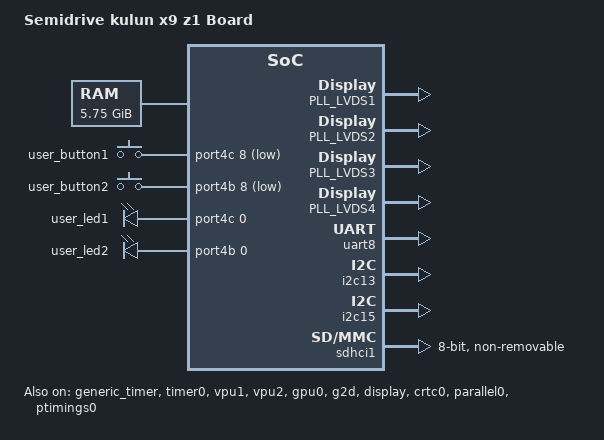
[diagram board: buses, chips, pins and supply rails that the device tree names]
/*
 * Semidrive kunlun platform DTS file
 *
 * Copyright (C) 2019, Semidrive  Communications Inc.
 *
 * This file is licensed under a dual GPLv2 or X11 license.
 */

/dts-v1/;

#include "x9_high_z1.dtsi"
#include "x9_high_z1-clk-ctrl.dtsi"
#include "lcd-timings.dtsi"
#include <dt-bindings/pinctrl/pins-sdx9.h>

/ {
	model = "Semidrive kulun x9 z1 Board";

	compatible = "semidrive,kunlun";

	aliases {
		serial0 = &uart8;
	};

	memory@50000000 {
		device_type = "memory";
		reg = <0x0 0x50000000 0x0 0x30000000 0x1 0x0 0x1 0x40000000>;
	};

	reserved-memory {
		#address-cells = <2>;
		#size-cells = <2>;
		ranges;

		/* Default Common CMA Pool */
		/* QUIRK: Must be kept in the lower 4096 MiBs of DRAM banks for VE */
		linux,cma {
			compatible = "shared-dma-pool";
			reusable;
			size = <0x0 0x18000000>; /* 384MB */
			/* 4GB maximum in case of 32-bit only capable devices */
			alloc-ranges = <0x0 0x0 0x0 0xffffffff>;
			linux,cma-default;
		};
	};

	chosen {
		bootargs = "root=/dev/ram0 rootfstype=ramfs highres=0 earlycon console=ttyS0,4000000n8 nr_cpus=1 loglevel=11 androidboot.mode=normal androidboot.selinux=permissive androidboot.debuggable=0 androidboot.dm_verity=disable init=/init";
		stdout-path = "serial0";
		linux,initrd-start = <0x5c000000>;
		linux,initrd-end   = <0x5c28cba2>;
	};

	gpio_keys {
		compatible = "gpio-keys";
		#address-cells = <1>;
		#size-cells = <0>;

		user_button1 {
			label = "user_button1";
			gpios = <&port4c 8 GPIO_ACTIVE_LOW>;
			linux,code = <116>;
			debounce-interval = <0>;
		};

		user_button2 {
			label = "user_button2";
			gpios = <&port4b 8 GPIO_ACTIVE_LOW>;
			linux,code = <117>;
			debounce-interval = <0>;
		};

	};

	leds {
        compatible = "gpio-leds";

		user_led1 {
			label = "user_led1";
			gpios = <&port4c 0 0>;
			linux,default-trigger = "heartbeat";
			default-state = "on";
		};

		user_led2 {
			label = "user_led2";
			gpios = <&port4b 0 0>;
			linux,default-trigger = "heartbeat";
			default-state = "on";
		};

	};

};

&cpu0 {
	clocks = <&CPU2_0>;
	clock-names = "cpu0";
	next-level-cache = <&l2>;
	status = "okay";
};

&generic_timer {
	interrupts = <1 13 (GIC_CPU_MASK_SIMPLE(1) | IRQ_TYPE_LEVEL_LOW)>,
		<1 14 (GIC_CPU_MASK_SIMPLE(1) | IRQ_TYPE_LEVEL_LOW)>,
		<1 11 (GIC_CPU_MASK_SIMPLE(1) | IRQ_TYPE_LEVEL_LOW)>,
		<1 10 (GIC_CPU_MASK_SIMPLE(1) | IRQ_TYPE_LEVEL_LOW)>;
	status = "okay";
};

&dmac1 {
	status = "okay";
};
&dmac2 {
	status = "okay";
};
&dmac3 {
	status = "okay";
};
&dmac4 {
	status = "okay";
};
&dmac5 {
	status = "okay";
};
&dmac6 {
	status = "okay";
};
&dmac7 {
	status = "okay";
};
/* some plls just disabled because the emu not include the module, if you confirm it's included, you can enabled it */
&PLL_CPU2 {
	status = "okay";
};
&PLL_GPU1 {
	status = "okay";
};
&PLL_GPU2 {
	status = "disabled";
};
&PLL_VPU {
	status = "okay";
};
&PLL_VSN {
	status = "disabled";
};
&PLL_HPI {
	status = "disabled";
};
&PLL_HIS {
	status = "disabled";
};
&PLL_DDR {
	status = "disabled";
};
&PLL3 {
	status = "okay";
};
&PLL4 {
	status = "okay";
};
&PLL5 {
	status = "okay";
};
&PLL6 {
	status = "okay";
};
&PLL7 {
	status = "okay";
};
&PLL_DISP {
	status = "okay";
};
&PLL_LVDS1 {
	status = "okay";
};
&PLL_LVDS2 {
	status = "okay";
};
&PLL_LVDS3 {
	status = "okay";
};
&PLL_LVDS4 {
	status = "okay";
};

&uart8 {
	dmas = <&dmac1 X9_DMA_SLV_ID_UART9_TX>, <&dmac1 X9_DMA_SLV_ID_UART9_RX>;
	dma-names = "tx", "rx";
	status = "okay";
};

&i2c13 {
        status = "okay";
};

&i2c15 {
        status = "okay";
};

&pinctrl {
	pinctrl-names = "default";
	pinctrl-0 = <&pinctrl_dp>;

	sdx9-evk {
		pinctrl_dp: dpgrp {
			kunlun,pins = <
				X9_PINCTRL_I2S_SC3_SCK__DISP_CLK_1		X9_PINCTRL_OPEN_DRAIN_DISABLE
				X9_PINCTRL_I2S_SC3_WS__DISP_HSYNC_1		X9_PINCTRL_OPEN_DRAIN_DISABLE
				X9_PINCTRL_I2S_SC3_SD__DISP_VSYNC_1		X9_PINCTRL_OPEN_DRAIN_DISABLE
				X9_PINCTRL_I2S_SC4_SCK__DISP_ENABLE_1		X9_PINCTRL_OPEN_DRAIN_DISABLE
				X9_PINCTRL_I2S_SC4_WS__DISP_DATA0_CANFD9_TX_1		X9_PINCTRL_OPEN_DRAIN_DISABLE
				X9_PINCTRL_I2S_SC4_SD__DISP_DATA1_CANFD9_RX_1		X9_PINCTRL_OPEN_DRAIN_DISABLE
				X9_PINCTRL_I2S_SC5_SCK__DISP_DATA2_CANFD10_TX_1		X9_PINCTRL_OPEN_DRAIN_DISABLE
				X9_PINCTRL_I2S_SC5_WS__DISP_DATA3_CANFD10_RX_1		X9_PINCTRL_OPEN_DRAIN_DISABLE
				X9_PINCTRL_I2S_SC5_SD__DISP_DATA4_CANFD11_TX_1		X9_PINCTRL_OPEN_DRAIN_DISABLE
				X9_PINCTRL_I2S_SC6_SCK__DISP_DATA5_CANFD11_RX_1		X9_PINCTRL_OPEN_DRAIN_DISABLE
				X9_PINCTRL_I2S_SC6_WS__DISP_DATA6_CANFD12_TX_1		X9_PINCTRL_OPEN_DRAIN_DISABLE
				X9_PINCTRL_I2S_SC6_SD__DISP_DATA7_CANFD12_RX_1		X9_PINCTRL_OPEN_DRAIN_DISABLE
				X9_PINCTRL_I2S_SC7_SCK__DISP_DATA8_CANFD13_TX_1		X9_PINCTRL_OPEN_DRAIN_DISABLE
				X9_PINCTRL_I2S_SC7_WS__DISP_DATA9_CANFD13_RX_1		X9_PINCTRL_OPEN_DRAIN_DISABLE
				X9_PINCTRL_I2S_SC7_SD__DISP_DATA10_CANFD14_TX_1		X9_PINCTRL_OPEN_DRAIN_DISABLE
				X9_PINCTRL_I2S_SC8_SCK__DISP_DATA11_CANFD14_RX_1		X9_PINCTRL_OPEN_DRAIN_DISABLE
				X9_PINCTRL_I2S_SC8_WS__DISP_DATA12_CANFD15_TX_1		X9_PINCTRL_OPEN_DRAIN_DISABLE
				X9_PINCTRL_I2S_SC8_SD__DISP_DATA13_CANFD15_RX_1		X9_PINCTRL_OPEN_DRAIN_DISABLE
				X9_PINCTRL_I2S_MC_SCK__DISP_DATA14_CANFD16_TX_1		X9_PINCTRL_OPEN_DRAIN_DISABLE
				X9_PINCTRL_I2S_MC_WS__DISP_DATA15_CANFD16_RX_1		X9_PINCTRL_OPEN_DRAIN_DISABLE
				X9_PINCTRL_I2S_MC_SD0__DISP_DATA16_CANFD17_TX_1		X9_PINCTRL_OPEN_DRAIN_DISABLE
				X9_PINCTRL_I2S_MC_SD1__DISP_DATA17_CANFD17_RX_1		X9_PINCTRL_OPEN_DRAIN_DISABLE
				X9_PINCTRL_I2S_MC_SD2__DISP_DATA18_CANFD18_TX_1		X9_PINCTRL_OPEN_DRAIN_DISABLE
				X9_PINCTRL_I2S_MC_SD3__DISP_DATA19_CANFD18_RX_1		X9_PINCTRL_OPEN_DRAIN_DISABLE
				X9_PINCTRL_I2S_MC_SD4__DISP_DATA20_CANFD19_TX_1		X9_PINCTRL_OPEN_DRAIN_DISABLE
				X9_PINCTRL_I2S_MC_SD5__DISP_DATA21_CANFD19_RX_1		X9_PINCTRL_OPEN_DRAIN_DISABLE
				X9_PINCTRL_I2S_MC_SD6__DISP_DATA22_CANFD20_TX_1		X9_PINCTRL_OPEN_DRAIN_DISABLE
				X9_PINCTRL_I2S_MC_SD7__DISP_DATA23_CANFD20_RX_1		X9_PINCTRL_OPEN_DRAIN_DISABLE
			>;
		};

		pinctrl_mshc1: mshc1grp {
            		kunlun,pins = <
                		X9_PINCTRL_EMMC1_CLK__MSHC1_CLK_1 		X9_PINCTRL_OPEN_DRAIN_DISABLE
				X9_PINCTRL_EMMC1_CMD__MSHC1_CMD_1		X9_PINCTRL_OPEN_DRAIN_DISABLE
				X9_PINCTRL_EMMC1_DATA0__MSHC1_DATA_0_1	X9_PINCTRL_OPEN_DRAIN_DISABLE
				X9_PINCTRL_EMMC1_DATA1__MSHC1_DATA_1_1	X9_PINCTRL_OPEN_DRAIN_DISABLE
				X9_PINCTRL_EMMC1_DATA2__MSHC1_DATA_2_1	X9_PINCTRL_OPEN_DRAIN_DISABLE
				X9_PINCTRL_EMMC1_DATA3__MSHC1_DATA_3_1	X9_PINCTRL_OPEN_DRAIN_DISABLE
				X9_PINCTRL_EMMC1_DATA4__MSHC1_DATA_4_1	X9_PINCTRL_OPEN_DRAIN_DISABLE
				X9_PINCTRL_EMMC1_DATA5__MSHC1_DATA_5_1	X9_PINCTRL_OPEN_DRAIN_DISABLE
				X9_PINCTRL_EMMC1_DATA6__MSHC1_DATA_6_1	X9_PINCTRL_OPEN_DRAIN_DISABLE
				X9_PINCTRL_EMMC1_DATA7__MSHC1_DATA_7_1	X9_PINCTRL_OPEN_DRAIN_DISABLE
				X9_PINCTRL_EMMC1_STROBE__MSHC1_STB_1		X9_PINCTRL_OPEN_DRAIN_ENABLE
				X9_PINCTRL_EMMC1_RESET_N__MSHC1_RST_N_1	X9_PINCTRL_OPEN_DRAIN_DISABLE
            		>;
        	};

		pinctrl_gpioc: gpiocgrp {
			kunlun,pins = <
				X9_PINCTRL_GPIO_C0__GPIO_MUX2_IO0_1     	X9_PINCTRL_OPEN_DRAIN_DISABLE
				X9_PINCTRL_RESERVED 						X9_PINCTRL_OPEN_DRAIN_DISABLE
				X9_PINCTRL_RESERVED 						X9_PINCTRL_OPEN_DRAIN_DISABLE
				X9_PINCTRL_RESERVED 						X9_PINCTRL_OPEN_DRAIN_DISABLE
				X9_PINCTRL_RESERVED 						X9_PINCTRL_OPEN_DRAIN_DISABLE
				X9_PINCTRL_RESERVED 						X9_PINCTRL_OPEN_DRAIN_DISABLE
				X9_PINCTRL_RESERVED 						X9_PINCTRL_OPEN_DRAIN_DISABLE
				X9_PINCTRL_RESERVED 						X9_PINCTRL_OPEN_DRAIN_DISABLE
				X9_PINCTRL_GPIO_C8__GPIO_MUX2_IO8_1     	X9_PINCTRL_OPEN_DRAIN_ENABLE

			>;
		};

		pinctrl_gpiod: gpiodgrp {
			kunlun,pins = <
				X9_PINCTRL_GPIO_D0__GPIO_MUX2_IO16_1     X9_PINCTRL_OPEN_DRAIN_DISABLE
				X9_PINCTRL_RESERVED 						X9_PINCTRL_OPEN_DRAIN_DISABLE
				X9_PINCTRL_RESERVED 						X9_PINCTRL_OPEN_DRAIN_DISABLE
				X9_PINCTRL_RESERVED 						X9_PINCTRL_OPEN_DRAIN_DISABLE
				X9_PINCTRL_RESERVED 						X9_PINCTRL_OPEN_DRAIN_DISABLE
				X9_PINCTRL_RESERVED 						X9_PINCTRL_OPEN_DRAIN_DISABLE
				X9_PINCTRL_RESERVED 						X9_PINCTRL_OPEN_DRAIN_DISABLE
				X9_PINCTRL_RESERVED 						X9_PINCTRL_OPEN_DRAIN_DISABLE
				X9_PINCTRL_GPIO_D8__GPIO_MUX2_IO24_1     X9_PINCTRL_OPEN_DRAIN_ENABLE

			>;
		};


	};
};

&sdhci1 {
	pinctrl-names = "default";
	pinctrl-0 = <&pinctrl_mshc1>;
	#clock-cells = <1>;
	clocks = <&EMMC1>;
	clock-names = "core";
	max-frequency = <100000000>;
	bus-width = <8>;
	non-removable;
	no-sdio;
	no-sd;
	cap-mmc-highspeed;
	disable-wp;
	keep-power-in-suspend;
	mmc-ddr-1_8v;
	status = "okay";
};

&gpio4 {
	pinctrl-names = "default";
    	pinctrl-0 = <&pinctrl_gpioc &pinctrl_gpiod>;
    	status = "okay";
};

&timer0 {
	status = "okay";
};

&vpu1 {
    status = "okay";
};

&vpu2 {
    status = "okay";
};

&gpu0 {
 status = "okay";
};

&g2d {
	status = "okay";
};

&display {
	status = "okay";
};

&crtc0 {
	status = "okay";
};

&parallel0 {
	status = "okay";
};

&dtimings0 {
	native-mode = <&fhd1920x1080>;
};

&ptimings0 {
	status = "okay";
};

&smmu {
	status = "disabled";
};
